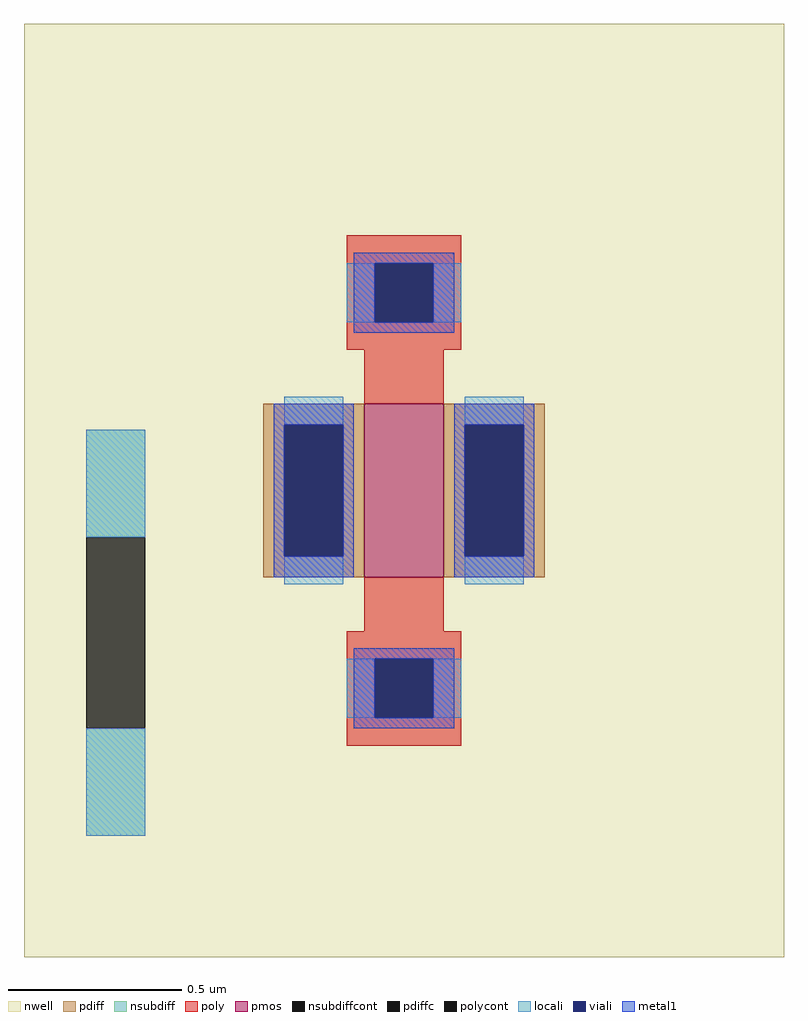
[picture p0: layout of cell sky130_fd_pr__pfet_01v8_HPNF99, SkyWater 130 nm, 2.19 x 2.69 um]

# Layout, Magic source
magic
tech sky130A
magscale 1 2
<< nwell >>
rect -219 -269 219 269
<< pmos >>
rect -23 -50 23 50
<< pdiff >>
rect -81 38 -23 50
rect -81 -38 -69 38
rect -35 -38 -23 38
rect -81 -50 -23 -38
rect 23 38 81 50
rect 23 -38 35 38
rect 69 -38 81 38
rect 23 -50 81 -38
<< pdiffc >>
rect -69 -38 -35 38
rect 35 -38 69 38
<< nsubdiff >>
rect -183 -27 -149 35
rect -183 -199 -149 -137
<< nsubdiffcont >>
rect -183 -137 -149 -27
<< poly >>
rect -33 131 33 147
rect -33 97 -17 131
rect 17 97 33 131
rect -33 81 33 97
rect -23 50 23 81
rect -23 -81 23 -50
rect -33 -97 33 -81
rect -33 -131 -17 -97
rect 17 -131 33 -97
rect -33 -147 33 -131
<< polycont >>
rect -17 97 17 131
rect -17 -131 17 -97
<< locali >>
rect -33 97 -17 131
rect 17 97 33 131
rect -69 38 -35 54
rect -183 -27 -149 35
rect -69 -54 -35 -38
rect 35 38 69 54
rect 35 -54 69 -38
rect -33 -131 -17 -97
rect 17 -131 33 -97
rect -183 -199 -149 -137
<< viali >>
rect -17 97 17 131
rect -69 -38 -35 38
rect 35 -38 69 38
rect -17 -131 17 -97
<< metal1 >>
rect -29 131 29 137
rect -29 97 -17 131
rect 17 97 29 131
rect -29 91 29 97
rect -75 38 -29 50
rect -75 -38 -69 38
rect -35 -38 -29 38
rect -75 -50 -29 -38
rect 29 38 75 50
rect 29 -38 35 38
rect 69 -38 75 38
rect 29 -50 75 -38
rect -29 -97 29 -91
rect -29 -131 -17 -97
rect 17 -131 29 -97
rect -29 -137 29 -131
<< properties >>
string FIXED_BBOX -166 -216 166 216
string gencell sky130_fd_pr__pfet_01v8
string library sky130
string parameters w 0.5 l 0.227 m 1 nf 1 diffcov 100 polycov 100 guard 1 glc 1 grc 1 gtc 1 gbc 1 tbcov 100 rlcov 100 topc 1 botc 1 poverlap 0 doverlap 1 lmin 0.15 wmin 0.42 compatible {sky130_fd_pr__pfet_01v8  sky130_fd_pr__pfet_01v8_lvt sky130_fd_pr__pfet_01v8_hvt  sky130_fd_pr__pfet_g5v0d10v5} full_metal 1 viasrc 100 viadrn 100 viagate 100 viagb 0 viagr 0 viagl 0 viagt 0
<< end >>
